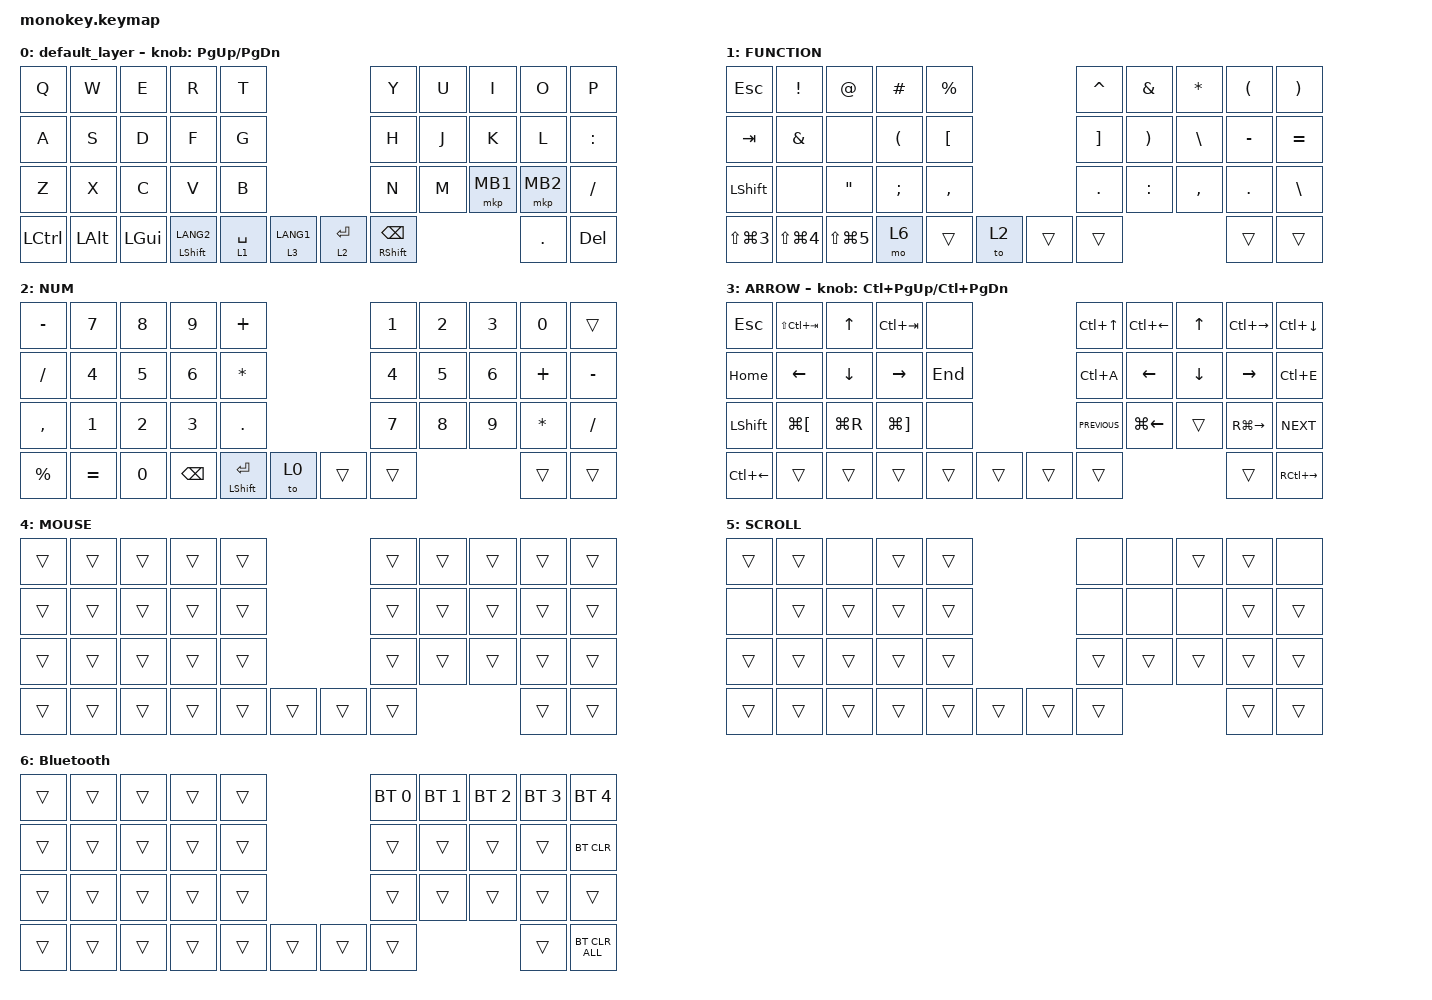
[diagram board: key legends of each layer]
#include <behaviors.dtsi>
#include <dt-bindings/zmk/bt.h>
#include <dt-bindings/zmk/keys.h>
#include <dt-bindings/zmk/pointing.h>

#define MOUSE 4
#define SCROLL 5
#define NUM 6

&mt {
    flavor = "balanced";
    quick-tap-ms = <300>;
};

&lt { quick-tap-ms = <300>; };

/ {
    combos {
        compatible = "zmk,combos";

        scroll {
            bindings = <&mo 5>;
            key-positions = <27 28>;
        };
    };

    behaviors {
        right_click: right_click_behavior {
            compatible = "zmk,behavior-mouse-key";
            label = "RIGHT_CLICK";
            #binding-cells = <0>;

            // 右クリックは通常 MB2 に対応（ZMKの標準定義）

            bindings = <&mkp MB2>;
        };
    };

    keymap {
        compatible = "zmk,keymap";

        default_layer {
            bindings = <
&kp Q      &kp W         &kp E         &kp R                 &kp T                       &kp Y        &kp U                      &kp I     &kp O       &kp P
&kp A      &kp S         &kp D         &kp F                 &kp G                       &kp H        &kp J                      &kp K     &kp L       &kp COLON
&kp Z      &kp X         &kp C         &kp V                 &kp B                       &kp N        &kp M                      &mkp MB1  &mkp MB2    &kp SLASH
&kp LCTRL  &kp LEFT_ALT  &kp LEFT_GUI  &mt LEFT_SHIFT LANG2  &lt 1 SPACE  &lt 3 LANG1    &lt 2 ENTER  &mt RIGHT_SHIFT BACKSPACE            &kp PERIOD  &kp DEL
            >;

            sensor-bindings = <&inc_dec_kp PG_UP PAGE_DOWN>;
        };

        FUNCTION {
            bindings = <
&kp ESC               &kp EXCLAMATION       &kp AT             &kp HASH              &kp PERCENT                &kp CARET          &kp AMPERSAND          &kp ASTERISK   &kp LEFT_PARENTHESIS  &kp RIGHT_PARENTHESIS
&kp TAB               &kp AMPERSAND         &none              &kp LEFT_PARENTHESIS  &kp LEFT_BRACKET           &kp RIGHT_BRACKET  &kp RIGHT_PARENTHESIS  &kp BACKSLASH  &kp MINUS             &kp EQUAL
&kp LEFT_SHIFT        &none                 &kp DOUBLE_QUOTES  &kp SEMI              &kp COMMA                  &kp PERIOD         &kp COLON              &kp COMMA      &kp PERIOD            &kp BACKSLASH
&kp LS(LG(NUMBER_3))  &kp LS(LG(NUMBER_4))  &kp LS(LG(N5))     &mo 6                 &trans            &to 2    &trans             &trans                                &trans                &trans
            >;
        };

        NUM {
            bindings = <
&kp MINUS    &kp NUMBER_7  &kp NUMBER_8  &kp NUMBER_9   &kp PLUS                       &kp NUMBER_1  &kp NUMBER_2  &kp NUMBER_3  &kp N0        &trans
&kp SLASH    &kp NUMBER_4  &kp N5        &kp NUMBER_6   &kp STAR                       &kp NUMBER_4  &kp N5        &kp NUMBER_6  &kp PLUS      &kp MINUS
&kp COMMA    &kp NUMBER_1  &kp NUMBER_2  &kp NUMBER_3   &kp PERIOD                     &kp N7        &kp N8        &kp N9        &kp ASTERISK  &kp SLASH
&kp PERCENT  &kp EQUAL     &kp N0        &kp BACKSPACE  &mt LEFT_SHIFT ENTER  &to 0    &trans        &trans                      &trans        &trans
            >;
        };

        ARROW {
            bindings = <
&kp ESC         &kp LS(LC(TAB))       &kp UP_ARROW    &kp LC(TAB)            &none              &kp LC(UP_ARROW)  &kp LC(LEFT_ARROW)  &kp UP_ARROW    &kp LC(RIGHT)    &kp LC(DOWN_ARROW)
&kp HOME        &kp LEFT_ARROW        &kp DOWN_ARROW  &kp RIGHT_ARROW        &kp END            &kp LC(A)         &kp LEFT_ARROW      &kp DOWN_ARROW  &kp RIGHT_ARROW  &kp LC(E)
&kp LEFT_SHIFT  &kp LG(LEFT_BRACKET)  &kp LG(R)       &kp LG(RIGHT_BRACKET)  &none              &kp C_PREVIOUS    &kp LG(LEFT)        &trans          &kp RG(RIGHT)    &kp C_NEXT
&kp LC(LEFT)    &trans                &trans          &trans                 &trans   &trans    &trans            &trans                              &trans           &kp RC(RIGHT)
            >;

            sensor-bindings = <&inc_dec_kp LC(PAGE_UP) LC(PAGE_DOWN)>;
        };

        MOUSE {
            bindings = <
&trans  &trans  &trans  &trans  &trans            &trans  &trans  &trans  &trans  &trans
&trans  &trans  &trans  &trans  &trans            &trans  &trans  &trans  &trans  &trans
&trans  &trans  &trans  &trans  &trans            &trans  &trans  &trans  &trans  &trans
&trans  &trans  &trans  &trans  &trans  &trans    &trans  &trans          &trans  &trans
            >;
        };

        SCROLL {
            bindings = <
&trans  &trans  &none   &trans  &trans            &none   &none   &trans  &trans  &none
&none   &trans  &trans  &trans  &trans            &none   &none   &none   &trans  &trans
&trans  &trans  &trans  &trans  &trans            &trans  &trans  &trans  &trans  &trans
&trans  &trans  &trans  &trans  &trans  &trans    &trans  &trans          &trans  &trans
            >;
        };

        Bluetooth {
            bindings = <
&trans  &trans  &trans  &trans  &trans            &bt BT_SEL 0  &bt BT_SEL 1  &bt BT_SEL 2  &bt BT_SEL 3  &bt BT_SEL 4
&trans  &trans  &trans  &trans  &trans            &trans        &trans        &trans        &trans        &bt BT_CLR
&trans  &trans  &trans  &trans  &trans            &trans        &trans        &trans        &trans        &trans
&trans  &trans  &trans  &trans  &trans  &trans    &trans        &trans                      &trans        &bt BT_CLR_ALL
            >;
        };
    };
};
